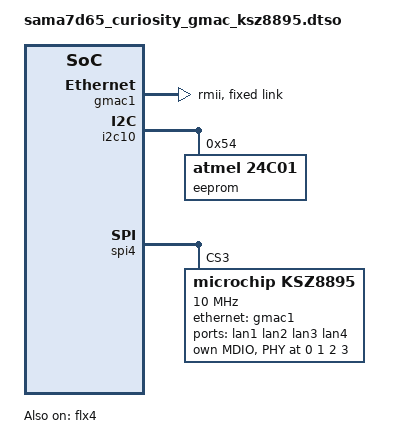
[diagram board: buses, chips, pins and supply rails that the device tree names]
// SPDX-License-Identifier: (GPL-2.0+ OR MIT)
/*
 *  Device Tree overlay for SAMA7D65-CURIOSITY board
 *  in order to use the KSZ8895-EDS2 daughter card via RMII.
 *
 *  Copyright (c) 2025 Microchip Technology Inc. and its subsidiaries
 *
 *  Author: Jerry Ray <jerry.ray@microchip.com>
 *
 * Refer to the EV45A66A (KSZ8895-EDS2 daughter card)
 *
 */
/dts-v1/;
/plugin/;
#include "sama7d65-pinfunc.h"
#include <dt-bindings/mfd/atmel-flexcom.h>
#include <dt-bindings/clock/at91.h>
#include <dt-bindings/pinctrl/at91.h>
#include <dt-bindings/gpio/gpio.h>
#include <dt-bindings/interrupt-controller/irq.h>

&{/}
{
	model = "Microchip SAMA7D65 Curiosity KSZ8895 5-port Switch";
};

&flx4 {
	atmel,flexcom-mode = <ATMEL_FLEXCOM_MODE_SPI>;
	status = "okay";
};

&gmac1 {
	phy-mode = "rmii";
	pinctrl-names = "default";
	pinctrl-0 = <&pinctrl_gmac1_rmii_default
		     &pinctrl_gmac1_rxer_default
		     &pinctrl_gmac1_mdc_default
		     &pinctrl_gmac1_mdio_default
		     &pinctrl_gmac1_txck_default
		     &pinctrl_gmac1_phy_irq>;
	status = "okay";

	fixed-link {
		speed = <100>;
		full-duplex;
	};

	ethernet-phy@1 {
		status = "disabled";
	};
};

&i2c10 {
	#address-cells = <1>;
	#size-cells = <0>;
	dmas = <0>, <0>;
	status = "okay";

	eeprom@54 {
		compatible = "atmel,24c01";
		reg = <0x54>;
		pagesize = <8>;
		status = "okay";
	};
};

&pioA {
	pinctrl_gmac1_rmii_default: gmac1-rmii-default{
		pinmux = <PIN_PD22__G1_TX0>,
			 <PIN_PD23__G1_TX1>,
			 <PIN_PD27__G1_RX0>,
			 <PIN_PD28__G1_RX1>,
			 <PIN_PD21__G1_TXCTL>,
			 <PIN_PD24__G1_RXCTL>;
		slew-rate = <0>;
		bias-disable;
	};

	pinctrl_gmac1_rxer_default: gmac1-rxer-default{
		pinmux = <PIN_PD30__G1_RXER>;	/* ETH_RXER in RMII  */
		bias-pull-down;
	};

	pinctrl_spi4_default: spi4-default{
		pinmux = <PIN_PA18__FLEXCOM4_IO0>,	/* MOSI */
			 <PIN_PA17__FLEXCOM4_IO1>,	/* MISO */
			 <PIN_PA16__FLEXCOM4_IO2>,	/* SPCK */
			 <PIN_PA15__FLEXCOM4_IO3>,	/* CS0 */
			 <PIN_PA14__FLEXCOM4_IO4>,	/* CS1 */
			 <PIN_PA19__FLEXCOM4_IO5>,	/* CS2 */
			 <PIN_PA20__FLEXCOM4_IO6>;	/* CS3 */
		bias-disable;
	};
};

&spi4 {
	#address-cells = <1>;
	#size-cells = <0>;
	pinctrl-names = "default";
	pinctrl-0 = <&pinctrl_spi4_default>;
	status = "okay";

	ksz8895: ksz8895-switch@3 {
		compatible = "microchip,ksz8895";
		reg = <3>;
	//	interrupt-parent = <&pioA>;
	//	interrupts = <PIN_PE3 IRQ_TYPE_LEVEL_LOW>;
		spi-max-frequency = <10000000>;		/* 10MHz until proven */
		spi-cpha;
		spi-cpol;
		status = "okay";

		ports {
			#address-cells = <1>;
			#size-cells = <0>;
			port@0 {
				reg = <0>;
				label = "lan1";
				phy-handle = <&swphy0>;
			};
			port@1 {
				reg = <1>;
				label = "lan2";
				phy-handle = <&swphy1>;
			};
			port@2 {
				reg = <2>;
				label = "lan3";
				phy-handle = <&swphy2>;
			};
			port@3 {
				reg = <3>;
				label = "lan4";
				phy-handle = <&swphy3>;
			};
			port@4 {
				reg = <4>;
				phy-mode = "rmii";
				ethernet = <&gmac1>;
				fixed-link {
					speed = <100>;
					full-duplex;
				};
			};
		};
		mdio {
			#address-cells = <1>;
			#size-cells = <0>;
			swphy0: ethernet-phy@0 {
				reg = <0>;
				max-speed = <100>;
			};
			swphy1: ethernet-phy@1 {
				reg = <1>;
				max-speed = <100>;
			};
			swphy2: ethernet-phy@2 {
				reg = <2>;
				max-speed = <100>;
			};
			swphy3: ethernet-phy@3 {
				reg = <3>;
				max-speed = <100>;
			};
		};
	};
};
